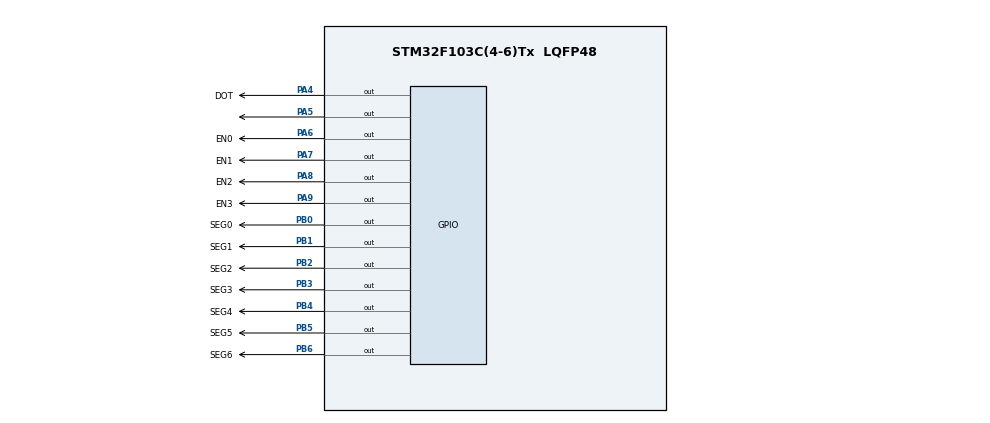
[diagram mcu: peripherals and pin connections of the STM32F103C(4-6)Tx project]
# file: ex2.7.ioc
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Mcu.Family=STM32F1
Mcu.Name=STM32F103C(4-6)Tx
Mcu.Package=LQFP48
NVIC.PriorityGroup=NVIC_PRIORITYGROUP_4
NVIC.TIM2_IRQn=true\:0\:0\:false\:false\:true\:true\:true
PA4.GPIO_Label=DOT
PA4.Signal=GPIO_Output
PA5.Signal=GPIO_Output
PA6.GPIO_Label=EN0
PA6.Signal=GPIO_Output
PA7.GPIO_Label=EN1
PA7.Signal=GPIO_Output
PA8.GPIO_Label=EN2
PA8.Signal=GPIO_Output
PA9.GPIO_Label=EN3
PA9.Signal=GPIO_Output
PB0.GPIO_Label=SEG0
PB0.Signal=GPIO_Output
PB1.GPIO_Label=SEG1
PB1.Signal=GPIO_Output
PB2.GPIO_Label=SEG2
PB2.Signal=GPIO_Output
PB3.GPIO_Label=SEG3
PB3.Signal=GPIO_Output
PB4.GPIO_Label=SEG4
PB4.Signal=GPIO_Output
PB5.GPIO_Label=SEG5
PB5.Signal=GPIO_Output
PB6.GPIO_Label=SEG6
PB6.Signal=GPIO_Output
ProjectManager.HeapSize=0x200
ProjectManager.StackSize=0x400
ProjectManager.TargetToolchain=STM32CubeIDE
RCC.APB1Freq_Value=8000000
RCC.APB2Freq_Value=8000000
TIM2.Period=9
TIM2.Prescaler=7999
VP_SYS_VS_ND.Mode=No_Debug
VP_TIM2_VS_ClockSourceINT.Mode=Internal
board=custom

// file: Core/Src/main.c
/* USER CODE BEGIN Header */
/**
  ******************************************************************************
  * @file           : main.c
  * @brief          : Main program body
  ******************************************************************************
  * @attention
  *
  * <h2><center>&copy; Copyright (c) 2026 STMicroelectronics.
  * All rights reserved.</center></h2>
  *
  * This software component is licensed by ST under BSD 3-Clause license,
  * the "License"; You may not use this file except in compliance with the
  * License. You may obtain a copy of the License at:
  *                        opensource.org/licenses/BSD-3-Clause
  *
  ******************************************************************************
  */
/* USER CODE END Header */
#include "main.h"

TIM_HandleTypeDef htim2;

/* USER CODE BEGIN PV */

volatile int timer0_counter = 0;
volatile int timer0_flag = 0;

volatile int TIMER_CYCLE = 10;

int scan_counter = 0;
int index_led = 0;

const int MAX_LED = 4;
volatile int led_buffer[4] = {0, 0, 0, 0};

int hour = 15;
int minute = 8;
int second = 50;

/* USER CODE END PV */

void SystemClock_Config(void);
static void MX_GPIO_Init(void);
static void MX_TIM2_Init(void);

/* USER CODE BEGIN 0 */
void setTimer0(int duration)
{
    timer0_counter = duration / TIMER_CYCLE;
    timer0_flag = 0;
}

void timer_run(void)
{
    if(timer0_counter > 0)
    {
        timer0_counter--;

        if(timer0_counter == 0)
        {
            timer0_flag = 1;
        }
    }
}

void HAL_TIM_PeriodElapsedCallback(TIM_HandleTypeDef *htim)
{
    if(htim->Instance == TIM2)
    {
        timer_run();

        // Quét 7 đoạn vẫn để trong interrupt ở bài 7
        scan_counter++;

        if(scan_counter >= 25)
        {
            scan_counter = 0;

            update7SEG(index_led);

            index_led++;

            if(index_led >= MAX_LED)
            {
                index_led = 0;
            }
        }
    }
}

void clear7SEG(void)
{
    HAL_GPIO_WritePin(SEG0_GPIO_Port, SEG0_Pin, GPIO_PIN_SET);
    HAL_GPIO_WritePin(SEG1_GPIO_Port, SEG1_Pin, GPIO_PIN_SET);
    HAL_GPIO_WritePin(SEG2_GPIO_Port, SEG2_Pin, GPIO_PIN_SET);
    HAL_GPIO_WritePin(SEG3_GPIO_Port, SEG3_Pin, GPIO_PIN_SET);
    HAL_GPIO_WritePin(SEG4_GPIO_Port, SEG4_Pin, GPIO_PIN_SET);
    HAL_GPIO_WritePin(SEG5_GPIO_Port, SEG5_Pin, GPIO_PIN_SET);
    HAL_GPIO_WritePin(SEG6_GPIO_Port, SEG6_Pin, GPIO_PIN_SET);
}

void display7SEG(int num)
{
  clear7SEG();
	switch(num)
	{

	case 0:

		HAL_GPIO_WritePin(SEG6_GPIO_Port, SEG6_Pin, GPIO_PIN_SET);

		HAL_GPIO_WritePin(SEG0_GPIO_Port, SEG0_Pin, GPIO_PIN_RESET);
		HAL_GPIO_WritePin(SEG1_GPIO_Port, SEG1_Pin, GPIO_PIN_RESET);
		HAL_GPIO_WritePin(SEG2_GPIO_Port, SEG2_Pin, GPIO_PIN_RESET);
		HAL_GPIO_WritePin(SEG3_GPIO_Port, SEG3_Pin, GPIO_PIN_RESET);
		HAL_GPIO_WritePin(SEG4_GPIO_Port, SEG4_Pin, GPIO_PIN_RESET);
		HAL_GPIO_WritePin(SEG5_GPIO_Port, SEG5_Pin, GPIO_PIN_RESET);

		break;

	case 1:

    HAL_GPIO_WritePin(SEG0_GPIO_Port, SEG0_Pin, GPIO_PIN_SET);
    HAL_GPIO_WritePin(SEG3_GPIO_Port, SEG3_Pin, GPIO_PIN_SET);
    HAL_GPIO_WritePin(SEG4_GPIO_Port, SEG4_Pin, GPIO_PIN_SET);
    HAL_GPIO_WritePin(SEG5_GPIO_Port, SEG5_Pin, GPIO_PIN_SET);
    HAL_GPIO_WritePin(SEG6_GPIO_Port, SEG6_Pin, GPIO_PIN_SET);

    HAL_GPIO_WritePin(SEG1_GPIO_Port, SEG1_Pin, GPIO_PIN_RESET);
    HAL_GPIO_WritePin(SEG2_GPIO_Port, SEG2_Pin, GPIO_PIN_RESET);

    break;

	case 2:

		HAL_GPIO_WritePin(SEG5_GPIO_Port, SEG5_Pin, GPIO_PIN_SET);
		HAL_GPIO_WritePin(SEG2_GPIO_Port, SEG2_Pin, GPIO_PIN_SET);

		HAL_GPIO_WritePin(SEG0_GPIO_Port, SEG0_Pin, GPIO_PIN_RESET);
		HAL_GPIO_WritePin(SEG1_GPIO_Port, SEG1_Pin, GPIO_PIN_RESET);
		HAL_GPIO_WritePin(SEG6_GPIO_Port, SEG6_Pin, GPIO_PIN_RESET);
		HAL_GPIO_WritePin(SEG4_GPIO_Port, SEG4_Pin, GPIO_PIN_RESET);
		HAL_GPIO_WritePin(SEG3_GPIO_Port, SEG3_Pin, GPIO_PIN_RESET);

		break;

	case 3:

		HAL_GPIO_WritePin(SEG5_GPIO_Port, SEG5_Pin, GPIO_PIN_SET);
		HAL_GPIO_WritePin(SEG4_GPIO_Port, SEG4_Pin, GPIO_PIN_SET);

		HAL_GPIO_WritePin(SEG0_GPIO_Port, SEG0_Pin, GPIO_PIN_RESET);
		HAL_GPIO_WritePin(SEG1_GPIO_Port, SEG1_Pin, GPIO_PIN_RESET);
		HAL_GPIO_WritePin(SEG6_GPIO_Port, SEG6_Pin, GPIO_PIN_RESET);
		HAL_GPIO_WritePin(SEG2_GPIO_Port, SEG2_Pin, GPIO_PIN_RESET);
		HAL_GPIO_WritePin(SEG3_GPIO_Port, SEG3_Pin, GPIO_PIN_RESET);

		break;

	case 4:

		HAL_GPIO_WritePin(SEG0_GPIO_Port, SEG0_Pin, GPIO_PIN_SET);
		HAL_GPIO_WritePin(SEG4_GPIO_Port, SEG4_Pin, GPIO_PIN_SET);
		HAL_GPIO_WritePin(SEG3_GPIO_Port, SEG3_Pin, GPIO_PIN_SET);

		HAL_GPIO_WritePin(SEG5_GPIO_Port, SEG5_Pin, GPIO_PIN_RESET);
		HAL_GPIO_WritePin(SEG1_GPIO_Port, SEG1_Pin, GPIO_PIN_RESET);
		HAL_GPIO_WritePin(SEG6_GPIO_Port, SEG6_Pin, GPIO_PIN_RESET);
		HAL_GPIO_WritePin(SEG2_GPIO_Port, SEG2_Pin, GPIO_PIN_RESET);

		break;

	case 5:

		HAL_GPIO_WritePin(SEG1_GPIO_Port, SEG1_Pin, GPIO_PIN_SET);
		HAL_GPIO_WritePin(SEG4_GPIO_Port, SEG4_Pin, GPIO_PIN_SET);

		HAL_GPIO_WritePin(SEG0_GPIO_Port, SEG0_Pin, GPIO_PIN_RESET);
		HAL_GPIO_WritePin(SEG5_GPIO_Port, SEG5_Pin, GPIO_PIN_RESET);
		HAL_GPIO_WritePin(SEG6_GPIO_Port, SEG6_Pin, GPIO_PIN_RESET);
		HAL_GPIO_WritePin(SEG2_GPIO_Port, SEG2_Pin, GPIO_PIN_RESET);
		HAL_GPIO_WritePin(SEG3_GPIO_Port, SEG3_Pin, GPIO_PIN_RESET);

		break;

	case 6:

		HAL_GPIO_WritePin(SEG1_GPIO_Port, SEG1_Pin, GPIO_PIN_SET);

		HAL_GPIO_WritePin(SEG0_GPIO_Port, SEG0_Pin, GPIO_PIN_RESET);
		HAL_GPIO_WritePin(SEG5_GPIO_Port, SEG5_Pin, GPIO_PIN_RESET);
		HAL_GPIO_WritePin(SEG6_GPIO_Port, SEG6_Pin, GPIO_PIN_RESET);
		HAL_GPIO_WritePin(SEG4_GPIO_Port, SEG4_Pin, GPIO_PIN_RESET);
		HAL_GPIO_WritePin(SEG2_GPIO_Port, SEG2_Pin, GPIO_PIN_RESET);
		HAL_GPIO_WritePin(SEG3_GPIO_Port, SEG3_Pin, GPIO_PIN_RESET);

		break;

	case 7:

		HAL_GPIO_WritePin(SEG5_GPIO_Port, SEG5_Pin, GPIO_PIN_SET);
		HAL_GPIO_WritePin(SEG6_GPIO_Port, SEG6_Pin, GPIO_PIN_SET);
		HAL_GPIO_WritePin(SEG4_GPIO_Port, SEG4_Pin, GPIO_PIN_SET);
		HAL_GPIO_WritePin(SEG3_GPIO_Port, SEG3_Pin, GPIO_PIN_SET);

		HAL_GPIO_WritePin(SEG0_GPIO_Port, SEG0_Pin, GPIO_PIN_RESET);
		HAL_GPIO_WritePin(SEG1_GPIO_Port, SEG1_Pin, GPIO_PIN_RESET);
		HAL_GPIO_WritePin(SEG2_GPIO_Port, SEG2_Pin, GPIO_PIN_RESET);

		break;

	case 8:

		HAL_GPIO_WritePin(SEG0_GPIO_Port, SEG0_Pin, GPIO_PIN_RESET);
		HAL_GPIO_WritePin(SEG1_GPIO_Port, SEG1_Pin, GPIO_PIN_RESET);
		HAL_GPIO_WritePin(SEG2_GPIO_Port, SEG2_Pin, GPIO_PIN_RESET);
		HAL_GPIO_WritePin(SEG3_GPIO_Port, SEG3_Pin, GPIO_PIN_RESET);
		HAL_GPIO_WritePin(SEG4_GPIO_Port, SEG4_Pin, GPIO_PIN_RESET);
		HAL_GPIO_WritePin(SEG5_GPIO_Port, SEG5_Pin, GPIO_PIN_RESET);
		HAL_GPIO_WritePin(SEG6_GPIO_Port, SEG6_Pin, GPIO_PIN_RESET);

		break;

	case 9:

		HAL_GPIO_WritePin(SEG4_GPIO_Port, SEG4_Pin, GPIO_PIN_SET);

		HAL_GPIO_WritePin(SEG0_GPIO_Port, SEG0_Pin, GPIO_PIN_RESET);
		HAL_GPIO_WritePin(SEG1_GPIO_Port, SEG1_Pin, GPIO_PIN_RESET);
		HAL_GPIO_WritePin(SEG2_GPIO_Port, SEG2_Pin, GPIO_PIN_RESET);
		HAL_GPIO_WritePin(SEG3_GPIO_Port, SEG3_Pin, GPIO_PIN_RESET);
		HAL_GPIO_WritePin(SEG5_GPIO_Port, SEG5_Pin, GPIO_PIN_RESET);
		HAL_GPIO_WritePin(SEG6_GPIO_Port, SEG6_Pin, GPIO_PIN_RESET);

		break;

	default:

		clear7SEG();

		break;
	}
}

void updateClockBuffer()
{
    led_buffer[0] = hour / 10;
    led_buffer[1] = hour % 10;

    led_buffer[2] = minute / 10;
    led_buffer[3] = minute % 10;
}

void update7SEG(int index)
{
    HAL_GPIO_WritePin(GPIOA,
        GPIO_PIN_6 |
        GPIO_PIN_7 |
        GPIO_PIN_8 |
        GPIO_PIN_9,
        GPIO_PIN_SET);

    switch(index)
    {
        case 0:
            display7SEG(led_buffer[0]);
            HAL_GPIO_WritePin(GPIOA,
                GPIO_PIN_6, GPIO_PIN_RESET);
            break;

        case 1:
            display7SEG(led_buffer[1]);
            HAL_GPIO_WritePin(GPIOA,
                GPIO_PIN_7, GPIO_PIN_RESET);
            break;

        case 2:
            display7SEG(led_buffer[2]);
            HAL_GPIO_WritePin(GPIOA,
                GPIO_PIN_8, GPIO_PIN_RESET);
            break;

        case 3:
            display7SEG(led_buffer[3]);
            HAL_GPIO_WritePin(GPIOA,
                GPIO_PIN_9, GPIO_PIN_RESET);
            break;

        default:
            break;
    }
}

    // 10ms timer -> 100 counts = 1 second

/* USER CODE END 0 */

int main(void)
{

  /* MCU Configuration--------------------------------------------------------*/

  /* Reset of all peripherals, Initializes the Flash interface and the Systick. */
  HAL_Init();

  /* Configure the system clock */
  SystemClock_Config();

  /* Initialize all configured peripherals */
  MX_GPIO_Init();
  MX_TIM2_Init();
  /* USER CODE BEGIN 2 */
  HAL_GPIO_WritePin(GPIOA,
    GPIO_PIN_6 | GPIO_PIN_7 |
    GPIO_PIN_8 | GPIO_PIN_9,
    GPIO_PIN_SET);

  HAL_TIM_Base_Start_IT(&htim2);

  updateClockBuffer();

  setTimer0(1000);

  /* USER CODE END 2 */

  /* Infinite loop */
  while (1)
  {
	  if(timer0_flag == 1)
    {
        // cập nhật thời gian
        second++;

        if(second >= 60)
        {
            second = 0;
            minute++;
        }

        if(minute >= 60)
        {
            minute = 0;
            hour++;
        }

        if(hour >= 24)
        {
            hour = 0;
        }

        updateClockBuffer();

        // DOT đổi trạng thái mỗi 1 giây
        HAL_GPIO_TogglePin(GPIOA, GPIO_PIN_4);

        // chạy lại timer 1 giây
        setTimer0(1000);
    }

  }
}

void SystemClock_Config(void)
{
  RCC_OscInitTypeDef RCC_OscInitStruct = {0};
  RCC_ClkInitTypeDef RCC_ClkInitStruct = {0};

  /** Initializes the RCC Oscillators according to the specified parameters
  * in the RCC_OscInitTypeDef structure.
  */
  RCC_OscInitStruct.OscillatorType = RCC_OSCILLATORTYPE_HSI;
  RCC_OscInitStruct.HSIState = RCC_HSI_ON;
  RCC_OscInitStruct.HSICalibrationValue = RCC_HSICALIBRATION_DEFAULT;
  RCC_OscInitStruct.PLL.PLLState = RCC_PLL_NONE;
  if (HAL_RCC_OscConfig(&RCC_OscInitStruct) != HAL_OK)
  {
    Error_Handler();
  }
  /** Initializes the CPU, AHB and APB buses clocks
  */
  RCC_ClkInitStruct.ClockType = RCC_CLOCKTYPE_HCLK|RCC_CLOCKTYPE_SYSCLK
                              |RCC_CLOCKTYPE_PCLK1|RCC_CLOCKTYPE_PCLK2;
  RCC_ClkInitStruct.SYSCLKSource = RCC_SYSCLKSOURCE_HSI;
  RCC_ClkInitStruct.AHBCLKDivider = RCC_SYSCLK_DIV1;
  RCC_ClkInitStruct.APB1CLKDivider = RCC_HCLK_DIV1;
  RCC_ClkInitStruct.APB2CLKDivider = RCC_HCLK_DIV1;

  if (HAL_RCC_ClockConfig(&RCC_ClkInitStruct, FLASH_LATENCY_0) != HAL_OK)
  {
    Error_Handler();
  }
}

static void MX_TIM2_Init(void)
{

  TIM_ClockConfigTypeDef sClockSourceConfig = {0};
  TIM_MasterConfigTypeDef sMasterConfig = {0};

  htim2.Instance = TIM2;
  htim2.Init.Prescaler = 7999;
  htim2.Init.CounterMode = TIM_COUNTERMODE_UP;
  htim2.Init.Period = 9;
  htim2.Init.ClockDivision = TIM_CLOCKDIVISION_DIV1;
  htim2.Init.AutoReloadPreload = TIM_AUTORELOAD_PRELOAD_DISABLE;
  if (HAL_TIM_Base_Init(&htim2) != HAL_OK)
  {
    Error_Handler();
  }
  sClockSourceConfig.ClockSource = TIM_CLOCKSOURCE_INTERNAL;
  if (HAL_TIM_ConfigClockSource(&htim2, &sClockSourceConfig) != HAL_OK)
  {
    Error_Handler();
  }
  sMasterConfig.MasterOutputTrigger = TIM_TRGO_RESET;
  sMasterConfig.MasterSlaveMode = TIM_MASTERSLAVEMODE_DISABLE;
  if (HAL_TIMEx_MasterConfigSynchronization(&htim2, &sMasterConfig) != HAL_OK)
  {
    Error_Handler();
  }

}

static void MX_GPIO_Init(void)
{
  GPIO_InitTypeDef GPIO_InitStruct = {0};

  /* GPIO Ports Clock Enable */
  __HAL_RCC_GPIOA_CLK_ENABLE();
  __HAL_RCC_GPIOB_CLK_ENABLE();

  /*Configure GPIO pin Output Level */
  HAL_GPIO_WritePin(GPIOA, DOT_Pin|GPIO_PIN_5|EN0_Pin|EN1_Pin
                          |EN2_Pin|EN3_Pin, GPIO_PIN_RESET);

  /*Configure GPIO pin Output Level */
  HAL_GPIO_WritePin(GPIOB, SEG0_Pin|SEG1_Pin|SEG2_Pin|SEG3_Pin
                          |SEG4_Pin|SEG5_Pin|SEG6_Pin, GPIO_PIN_RESET);

  /*Configure GPIO pins : DOT_Pin PA5 EN0_Pin EN1_Pin
                           EN2_Pin EN3_Pin */
  GPIO_InitStruct.Pin = DOT_Pin|GPIO_PIN_5|EN0_Pin|EN1_Pin
                          |EN2_Pin|EN3_Pin;
  GPIO_InitStruct.Mode = GPIO_MODE_OUTPUT_PP;
  GPIO_InitStruct.Pull = GPIO_NOPULL;
  GPIO_InitStruct.Speed = GPIO_SPEED_FREQ_LOW;
  HAL_GPIO_Init(GPIOA, &GPIO_InitStruct);

  /*Configure GPIO pins : SEG0_Pin SEG1_Pin SEG2_Pin SEG3_Pin
                           SEG4_Pin SEG5_Pin SEG6_Pin */
  GPIO_InitStruct.Pin = SEG0_Pin|SEG1_Pin|SEG2_Pin|SEG3_Pin
                          |SEG4_Pin|SEG5_Pin|SEG6_Pin;
  GPIO_InitStruct.Mode = GPIO_MODE_OUTPUT_PP;
  GPIO_InitStruct.Pull = GPIO_NOPULL;
  GPIO_InitStruct.Speed = GPIO_SPEED_FREQ_LOW;
  HAL_GPIO_Init(GPIOB, &GPIO_InitStruct);

}

void Error_Handler(void)
{
  __disable_irq();
  while (1)
  {
  }
}

/************************ (C) COPYRIGHT STMicroelectronics *****END OF FILE****/
